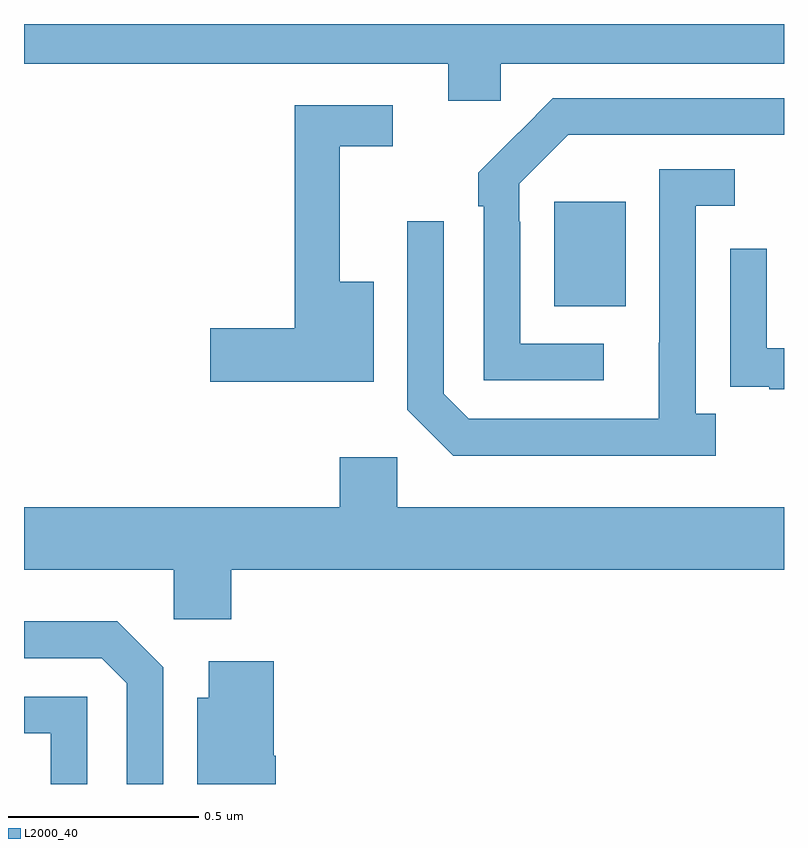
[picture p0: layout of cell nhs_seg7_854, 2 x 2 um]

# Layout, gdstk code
import gdstk
lib = gdstk.Library(unit=1e-6, precision=1e-09)
def R(c, l, rs):  # rectangles x0, y0, x1, y1
    for r in rs: c.add(gdstk.rectangle(r[:2], r[2:], *l))
def P(c, l, *ps):  # polygons
    for p in ps: c.add(gdstk.Polygon(p, *l))
L2000_40 = (2000, 40)

nhs_seg7_854 = lib.new_cell('nhs_seg7_854')
R(nhs_seg7_854, L2000_40, [(123.395,1053.257,123.583,1053.532)])
P(nhs_seg7_854, L2000_40, [(123.255,1053.896),(124,1053.896),(124,1054),(122,1054),(122,1053.896),(123.116,1053.896),(123.116,1053.798),(123.255,1053.798)],
  [(123.526,1053.159),(123.306,1053.159),(123.306,1053.479),(123.303,1053.479),(123.303,1053.579),(123.432,1053.708),(124,1053.708),(124,1053.804),(123.392,1053.804),(123.301,1053.713),(123.3,1053.714),(123.195,1053.609),(123.195,1053.521),(123.21,1053.521),(123.21,1053.063),(123.526,1053.063)],
  [(122.92,1053.322),(122.831,1053.322),(122.831,1053.678),(122.971,1053.678),(122.971,1053.786),(122.713,1053.786),(122.713,1053.2),(122.49,1053.2),(122.49,1053.058),(122.92,1053.058)],
  [(123.82,1052.974),(123.768,1052.974),(123.768,1053.522),(123.871,1053.522),(123.871,1053.618),(123.672,1053.618),(123.672,1053.161),(123.671,1053.161),(123.671,1052.961),(123.171,1052.961),(123.105,1053.027),(123.105,1053.481),(123.009,1053.481),(123.009,1052.985),(123.13,1052.864),(123.82,1052.864)],
  [(124,1053.147),(123.954,1053.147),(123.954,1053.409),(123.858,1053.409),(123.858,1053.154),(123.859,1053.154),(123.859,1053.045),(123.961,1053.045),(123.961,1053.039),(124,1053.039)],
  [(122.546,1052.564),(124,1052.564),(124,1052.728),(122.982,1052.728),(122.982,1052.86),(122.831,1052.86),(122.831,1052.728),(122,1052.728),(122,1052.564),(122.394,1052.564),(122.394,1052.433),(122.546,1052.433)],
  [(122.367,1052.307),(122.246,1052.428),(122,1052.428),(122,1052.331),(122.205,1052.331),(122.271,1052.265),(122.271,1052),(122.367,1052)],
  [(122.663,1052.074),(122.657,1052.074),(122.657,1052.323),(122.486,1052.323),(122.486,1052.227),(122.456,1052.227),(122.456,1052),(122.663,1052)],
  [(122.166,1052.229),(122,1052.229),(122,1052.133),(122.07,1052.133),(122.07,1052),(122.166,1052)])

lib.write_gds('nhs_seg7_854.gds')
